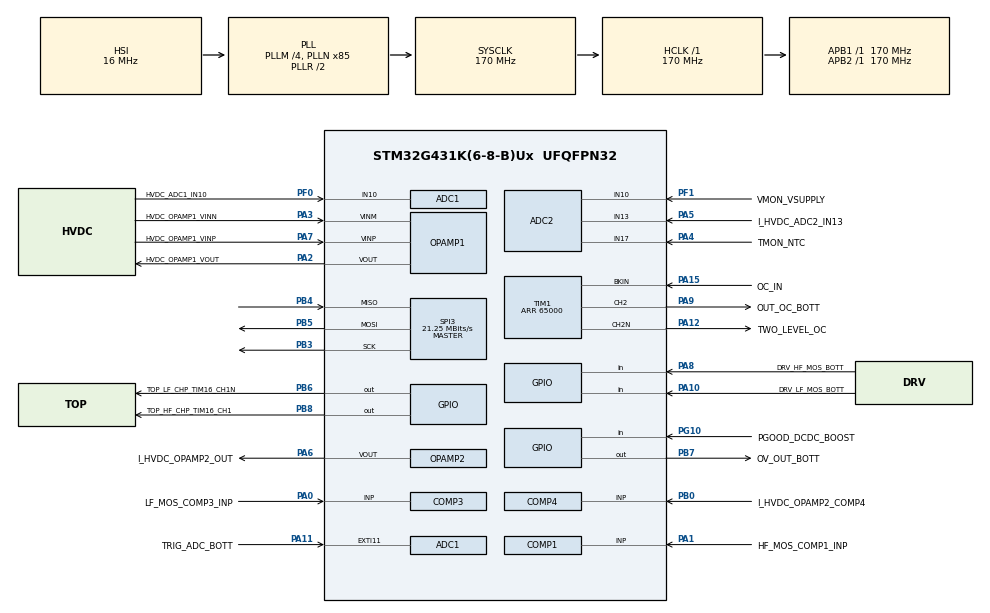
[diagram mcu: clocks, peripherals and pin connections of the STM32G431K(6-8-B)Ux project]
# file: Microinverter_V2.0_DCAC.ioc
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ADC1.Channel-0\#ChannelRegularConversion=ADC_CHANNEL_10
ADC1.ClockPrescaler=ADC_CLOCK_ASYNC_DIV1
ADC1.DMAAccessModeView=ENABLE
ADC1.DMAContinuousRequests=ENABLE
ADC1.EOCSelection=ADC_EOC_SEQ_CONV
ADC1.EnableInjectedConversion=ENABLE
ADC1.InjNumberOfConversion=2
ADC1.InjectedChannel-3\#ChannelInjectedConversion=ADC_CHANNEL_TEMPSENSOR_ADC1
ADC1.InjectedChannel-4\#ChannelInjectedConversion=ADC_CHANNEL_VBAT
ADC1.InjectedOffsetNumber-3\#ChannelInjectedConversion=ADC_OFFSET_NONE
ADC1.InjectedOffsetNumber-4\#ChannelInjectedConversion=ADC_OFFSET_NONE
ADC1.InjectedRank-3\#ChannelInjectedConversion=1
ADC1.InjectedRank-4\#ChannelInjectedConversion=2
ADC1.InjectedSamplingTime-3\#ChannelInjectedConversion=ADC_SAMPLETIME_247CYCLES_5
ADC1.InjectedSamplingTime-4\#ChannelInjectedConversion=ADC_SAMPLETIME_247CYCLES_5
ADC1.Mode=ADC_DUALMODE_REGINTERL_INJECSIMULT
ADC1.NbrOfConversion=1
ADC1.NbrOfConversionFlag=1
ADC1.OffsetNumber-0\#ChannelRegularConversion=ADC_OFFSET_NONE
ADC1.OversamplingMode=DISABLE
ADC1.Rank-0\#ChannelRegularConversion=1
ADC1.Rank1_Channel=ADC_CHANNEL_TEMPSENSOR_ADC1
ADC1.Rank2_Channel=ADC_CHANNEL_VBAT
ADC1.SamplingTime-0\#ChannelRegularConversion=ADC_SAMPLETIME_12CYCLES_5
ADC1.master=1
ADC2.Channel-0\#ChannelRegularConversion=ADC_CHANNEL_13
ADC2.ClockPrescaler=ADC_CLOCK_ASYNC_DIV1
ADC2.DMAAccessModeView=ENABLE
ADC2.EOCSelection=ADC_EOC_SEQ_CONV
ADC2.EnableInjectedConversion=ENABLE
ADC2.InjNumberOfConversion=2
ADC2.InjectedChannel-3\#ChannelInjectedConversion=ADC_CHANNEL_17
ADC2.InjectedChannel-4\#ChannelInjectedConversion=ADC_CHANNEL_10
ADC2.InjectedOffsetNumber-3\#ChannelInjectedConversion=ADC_OFFSET_NONE
ADC2.InjectedOffsetNumber-4\#ChannelInjectedConversion=ADC_OFFSET_NONE
ADC2.InjectedRank-3\#ChannelInjectedConversion=1
ADC2.InjectedRank-4\#ChannelInjectedConversion=2
ADC2.InjectedSamplingTime-3\#ChannelInjectedConversion=ADC_SAMPLETIME_247CYCLES_5
ADC2.InjectedSamplingTime-4\#ChannelInjectedConversion=ADC_SAMPLETIME_247CYCLES_5
ADC2.Mode=ADC_DUALMODE_REGINTERL_INJECSIMULT
ADC2.NbrOfConversion=1
ADC2.NbrOfConversionFlag=1
ADC2.OffsetNumber-0\#ChannelRegularConversion=ADC_OFFSET_NONE
ADC2.OversamplingMode=DISABLE
ADC2.Rank-0\#ChannelRegularConversion=1
ADC2.Rank1_Channel=ADC_CHANNEL_17
ADC2.Rank2_Channel=ADC_CHANNEL_10
ADC2.SamplingTime-0\#ChannelRegularConversion=ADC_SAMPLETIME_12CYCLES_5
COMP1.Hysteresis=COMP_HYSTERESIS_30MV
COMP1.TriggerMode=COMP_TRIGGERMODE_NONE
COMP3.Hysteresis=COMP_HYSTERESIS_30MV
COMP3.TriggerMode=COMP_TRIGGERMODE_NONE
COMP4.Hysteresis=COMP_HYSTERESIS_30MV
COMP4.TriggerMode=COMP_TRIGGERMODE_NONE
DAC3.DAC_Channel-DAC_OUT2_Int=DAC_CHANNEL_2
Dma.ADC1.0.Direction=DMA_PERIPH_TO_MEMORY
Dma.ADC1.0.EventEnable=DISABLE
Dma.ADC1.0.Instance=DMA1_Channel1
Dma.ADC1.0.MemDataAlignment=DMA_MDATAALIGN_WORD
Dma.ADC1.0.MemInc=DMA_MINC_ENABLE
Dma.ADC1.0.Mode=DMA_CIRCULAR
Dma.ADC1.0.PeriphDataAlignment=DMA_PDATAALIGN_WORD
Dma.ADC1.0.PeriphInc=DMA_PINC_DISABLE
Dma.ADC1.0.Polarity=HAL_DMAMUX_REQ_GEN_RISING
Dma.ADC1.0.Priority=DMA_PRIORITY_HIGH
Dma.ADC1.0.RequestNumber=1
Dma.ADC1.0.SignalID=NONE
Dma.ADC1.0.SyncEnable=DISABLE
Dma.ADC1.0.SyncPolarity=HAL_DMAMUX_SYNC_NO_EVENT
Dma.ADC1.0.SyncRequestNumber=1
Dma.ADC1.0.SyncSignalID=NONE
Dma.Request0=ADC1
Mcu.Family=STM32G4
Mcu.Name=STM32G431K(6-8-B)Ux
Mcu.Package=UFQFPN32
NVIC.DMA1_Channel1_IRQn=true\:0\:0\:false\:false\:true\:false\:false
NVIC.PriorityGroup=NVIC_PRIORITYGROUP_4
NVIC.TIM1_BRK_TIM15_IRQn=true\:0\:0\:false\:false\:true\:true\:true
OPAMP1.PowerMode=OPAMP_POWERMODE_HIGHSPEED
OPAMP2.PowerMode=OPAMP_POWERMODE_HIGHSPEED
PA0.GPIO_Label=LF_MOS_COMP3_INP
PA0.Mode=INP
PA0.Signal=COMP3_INP
PA1.GPIO_Label=HF_MOS_COMP1_INP
PA1.Mode=INP
PA1.Signal=COMP1_INP
PA10.GPIO_Label=DRV_LF_MOS_BOTT
PA10.Signal=GPIO_Input
PA11.GPIO_Label=TRIG_ADC_BOTT
PA11.Signal=GPXTI11
PA12.GPIO_Label=TWO_LEVEL_OC
PA12.GPIO_PuPd=GPIO_PULLDOWN
PA12.GPIO_Speed=GPIO_SPEED_FREQ_VERY_HIGH
PA12.Mode=PWM Generation2 CH2 CH2N
PA12.Signal=TIM1_CH2N
PA13.Mode=Serial_Wire
PA13.Signal=SYS_JTMS-SWDIO
PA14.Mode=Serial_Wire
PA14.Signal=SYS_JTCK-SWCLK
PA15.GPIO_Label=OC_IN
PA15.GPIO_PuPd=GPIO_PULLDOWN
PA15.Mode=Activate-Break-Input
PA15.Signal=TIM1_BKIN
PA2.GPIO_Label=HVDC_OPAMP1_VOUT
PA2.Mode=Standalone
PA2.Signal=OPAMP1_VOUT
PA3.GPIO_Label=HVDC_OPAMP1_VINN
PA3.Mode=Standalone
PA3.Signal=OPAMP1_VINM
PA4.GPIO_Label=TMON_NTC
PA4.Mode=IN17-Single-Ended
PA4.Signal=ADC2_IN17
PA5.GPIO_Label=I_HVDC_ADC2_IN13
PA5.Mode=IN13-Single-Ended
PA5.Signal=ADC2_IN13
PA6.GPIO_Label=I_HVDC_OPAMP2_OUT
PA6.Mode=Follower
PA6.Signal=OPAMP2_VOUT
PA7.GPIO_Label=HVDC_OPAMP1_VINP
PA7.Mode=Standalone
PA7.Signal=OPAMP1_VINP
PA8.GPIO_Label=DRV_HF_MOS_BOTT
PA8.Signal=GPIO_Input
PA9.GPIO_Label=OUT_OC_BOTT
PA9.GPIO_PuPd=GPIO_PULLDOWN
PA9.GPIO_Speed=GPIO_SPEED_FREQ_VERY_HIGH
PA9.Signal=S_TIM1_CH2
PB0.GPIO_Label=I_HVDC_OPAMP2_COMP4
PB0.Signal=SharedAnalog_PB0
PB3.Mode=Full_Duplex_Master
PB3.Signal=SPI3_SCK
PB4.Mode=Full_Duplex_Master
PB4.Signal=SPI3_MISO
PB5.Mode=Full_Duplex_Master
PB5.Signal=SPI3_MOSI
PB6.GPIO_Label=TOP_LF_CHP_TIM16_CH1N
PB6.Signal=GPIO_Output
PB7.GPIO_Label=OV_OUT_BOTT
PB7.Signal=GPIO_Output
PB8-BOOT0.GPIO_Label=TOP_HF_CHP_TIM16_CH1
PB8-BOOT0.GPIO_PuPd=GPIO_PULLDOWN
PB8-BOOT0.PinState=GPIO_PIN_RESET
PB8-BOOT0.Signal=GPIO_Output
PF0-OSC_IN.GPIO_Label=HVDC_ADC1_IN10
PF0-OSC_IN.Mode=IN10-Single-Ended
PF0-OSC_IN.Signal=ADC1_IN10
PF1-OSC_OUT.GPIO_Label=VMON_VSUPPLY
PF1-OSC_OUT.Mode=IN10-Single-Ended
PF1-OSC_OUT.Signal=ADC2_IN10
PG10-NRST.GPIO_Label=PGOOD_DCDC_BOOST
PG10-NRST.Signal=GPIO_Input
ProjectManager.HeapSize=0x200
ProjectManager.StackSize=0x400
ProjectManager.TargetToolchain=STM32CubeIDE
RCC.ADC12CLockSelection=RCC_ADC12CLKSOURCE_PLL
RCC.ADC12Freq_Value=56666666.666666664
RCC.AHBFreq_Value=170000000
RCC.APB1Freq_Value=170000000
RCC.APB1TimFreq_Value=170000000
RCC.APB2Freq_Value=170000000
RCC.APB2TimFreq_Value=170000000
RCC.CortexFreq_Value=170000000
RCC.EXTERNAL_CLOCK_VALUE=12288000
RCC.HCLKFreq_Value=170000000
RCC.HSE_VALUE=8000000
RCC.HSI48_VALUE=48000000
RCC.HSI_VALUE=16000000
RCC.LSE_VALUE=32768
RCC.PLLM=RCC_PLLM_DIV4
RCC.PLLN=85
RCC.PLLP=RCC_PLLP_DIV6
RCC.SYSCLKFreq_VALUE=170000000
RCC.SYSCLKSource=RCC_SYSCLKSOURCE_PLLCLK
RCC.USBFreq_Value=170000000
RCC.VCOOutputFreq_Value=340000000
SH.S_TIM1_CH2.0=TIM1_CH2,PWM Generation2 CH2 CH2N
SH.SharedAnalog_PB0.0=COMP4_INP,INP
SH.SharedAnalog_PB0.1=OPAMP2_VINP,Follower
SPI3.BaudRatePrescaler=SPI_BAUDRATEPRESCALER_8
SPI3.CLKPhase=SPI_PHASE_1EDGE
SPI3.CLKPolarity=SPI_POLARITY_LOW
SPI3.CalculateBaudRate=21.25 MBits/s
SPI3.DataSize=SPI_DATASIZE_16BIT
SPI3.Direction=SPI_DIRECTION_2LINES
SPI3.Mode=SPI_MODE_MASTER
SPI3.NSSPMode=SPI_NSS_PULSE_DISABLE
SPI3.VirtualType=VM_MASTER
TIM1.AutomaticOutput=TIM_AUTOMATICOUTPUT_DISABLE
TIM1.BreakFilter=5
TIM1.BreakState=TIM_BREAK_ENABLE
TIM1.Channel-PWM\ Generation2\ CH2\ CH2N=TIM_CHANNEL_2
TIM1.DeadTime=150
TIM1.DeadTimePreload=ENABLE
TIM1.OCFastMode_PWM-PWM\ Generation2\ CH2\ CH2N=TIM_OCFAST_ENABLE
TIM1.OCIdleState_2=TIM_OCIDLESTATE_SET
TIM1.OCNPolarity_2=TIM_OCNPOLARITY_LOW
TIM1.OCPolarity_2=TIM_OCPOLARITY_LOW
TIM1.OffStateIDLEMode=TIM_OSSI_ENABLE
TIM1.OffStateRunMode=TIM_OSSR_ENABLE
TIM1.PeriodNoDither=65000
TIM1.PulseNoDither_2=65000
TIM1.SourceBRKCOMP1=TIM_BREAKINPUTSOURCE_ENABLE
TIM1.SourceBRKCOMP3=TIM_BREAKINPUTSOURCE_ENABLE
TIM1.SourceBRKCOMP4=TIM_BREAKINPUTSOURCE_ENABLE
TIM1.SourceBRKDigInput=TIM_BREAKINPUTSOURCE_ENABLE
TIM16.PeriodNoDither=6800-1
TIM2.PeriodNoDither=170000-1
VP_ADC1_TempSens_Input.Mode=IN-TempSens
VP_ADC1_Vbat_Input.Mode=IN-Vbat
VP_COMP1_VS_DAC3OUT1.Mode=INM_DAC3OUT1
VP_COMP3_VS_DAC3OUT1.Mode=INM_DAC3OUT1
VP_COMP4_VS_DAC3OUT2.Mode=INM_DAC3OUT2
VP_DAC3_VS_DACI1.Mode=DAC_OUT1_Int
VP_DAC3_VS_DACI2.Mode=DAC_OUT2_Int
VP_SYS_VS_DBSignals.Mode=DisableDeadBatterySignals
VP_TIM16_VS_ClockSourceINT.Mode=Enable_Timer
VP_TIM1_VS_ClockSourceINT.Mode=Internal
VP_TIM1_VS_OPM.Mode=OPM_bit
VP_TIM2_VS_ClockSourceINT.Mode=Internal
board=custom

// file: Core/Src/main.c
/* USER CODE BEGIN Header */
/**
  ******************************************************************************
  * @file           : main.c
  * @brief          : Main program body
  ******************************************************************************
  * @attention
  *
  * <h2><center>&copy; Copyright (c) 2021 STMicroelectronics.
  * All rights reserved.</center></h2>
  *
  * This software component is licensed by ST under BSD 3-Clause license,
  * the "License"; You may not use this file except in compliance with the
  * License. You may obtain a copy of the License at:
  *                        opensource.org/licenses/BSD-3-Clause
  *
  ******************************************************************************
  */
/* USER CODE END Header */
#include "main.h"

/* USER CODE BEGIN PD */
enum
{
  MOSFET_OVERCURRENT,
  SYSTEM_OK,
  MCU_OVERTEMPERATURE,
  MOSFET_OVERTEMPERATURE,
  VIN_OV,
  VIN_UV,
  BUS_OVERCURRENT,
  BUS_OVERVOLTAGE,
  SYSTEM_INIT,
  SPI_TRANSFER_ERROR
};

/* USER CODE END PD */

ADC_HandleTypeDef hadc1;
ADC_HandleTypeDef hadc2;
DMA_HandleTypeDef hdma_adc1;

COMP_HandleTypeDef hcomp1;
COMP_HandleTypeDef hcomp3;
COMP_HandleTypeDef hcomp4;

DAC_HandleTypeDef hdac3;

OPAMP_HandleTypeDef hopamp1;
OPAMP_HandleTypeDef hopamp2;

TIM_HandleTypeDef htim1;
TIM_HandleTypeDef htim2;
TIM_HandleTypeDef htim16;

/* USER CODE BEGIN PV */
uint32_t ADC12_BUFFER[ADC_BUFFER_SIZE] = {0};
uint32_t ADC2_BUFFER[ADC_BUFFER_SIZE] = {0};

uint16_t ADC_DRIVERS_MID_VOLTAGE = 0X7FE;
uint16_t IAC_OPAMP_MID_VOLTAGE = 0X7FE;
uint16_t OVERCURRENT_MOS = 0X199; //330 mV = 16.5 A
uint16_t OVERCURRENT_BUS =  0XFFF; //720 mV TESTY// 0XF2B;// 3106 mV = 2 A
#define OC_FILTER 5;

uint16_t I_HVDC_ADC_VAL = 0;
uint16_t V_HVDC_ADC_VAL = 0;

uint16_t VIN_MON = 0;
uint16_t VBAT_VAL = 0;
uint16_t NTC_VAL = 0;
uint16_t INT_TEMP_VAL = 0;

uint8_t aqusitionDMA1_1 = 0;
uint8_t *ptr_aqusitionDMA1_1;
uint8_t frequency_factor = 1;

uint16_t ii = 0;

uint16_t SPI_TxBuffer[SPI_TX_BUFFER_SIZE] = {0};

uint16_t SPI_RxBuffer[SPI_RX_BUFFER_SIZE] = {0};

uint16_t *ptr_SPI_TxBuffer;

uint16_t *ptr_SPI_RxBuffer;

uint8_t OC_PROT_ON = 0;

__IO uint16_t SystemState = SYSTEM_INIT;

__IO uint8_t ubTransmissionComplete = 0;
__IO uint8_t ubReceptionComplete = 0;

uint16_t Status_Val1 = 0;
uint16_t Status_Val2 = 0;
uint16_t Status_Val3 = 0;
/* USER CODE END PV */

void SystemClock_Config(void);
static void MX_GPIO_Init(void);
static void MX_DMA_Init(void);
static void MX_ADC1_Init(void);
static void MX_ADC2_Init(void);
static void MX_COMP1_Init(void);
static void MX_COMP3_Init(void);
static void MX_COMP4_Init(void);
static void MX_DAC3_Init(void);
static void MX_OPAMP1_Init(void);
static void MX_OPAMP2_Init(void);
static void MX_SPI3_Init(void);
static void MX_TIM1_Init(void);
static void MX_TIM16_Init(void);
static void MX_TIM2_Init(void);
/* USER CODE BEGIN PFP */
uint16_t GetLSB(uint32_t intValue);
uint16_t GetMSB(uint32_t intValue);
void spi_w16( SPI_TypeDef *SPIx, uint16_t dat );
void     Activate_SPI(void);
void SPI3_TransferError_Callback(void);
void DMA1_TransmitComplete_Callback(void);
void DMA1_ReceiveComplete_Callback(void);
void SPIx_Transfer2(SPI_TypeDef *SPIx, uint16_t *outp, uint16_t *inp, uint16_t count);
void delay_us(uint32_t delay_us);
/* USER CODE END PFP */

/* USER CODE BEGIN 0 */
static void TIM1_GPIO(void);
/* USER CODE END 0 */

int main(void)
{

  /* MCU Configuration--------------------------------------------------------*/

  /* Reset of all peripherals, Initializes the Flash interface and the Systick. */
  HAL_Init();

  /* Configure the system clock */
  SystemClock_Config();

  /* Initialize all configured peripherals */
  MX_GPIO_Init();
  MX_DMA_Init();
  MX_ADC1_Init();
  MX_ADC2_Init();
  MX_COMP1_Init();
  MX_COMP3_Init();
  MX_COMP4_Init();
  MX_DAC3_Init();
  MX_OPAMP1_Init();
  MX_OPAMP2_Init();
  MX_SPI3_Init();
  MX_TIM1_Init();
  MX_TIM16_Init();
  MX_TIM2_Init();
  /* USER CODE BEGIN 2 */

  HAL_OPAMP_Start(&hopamp1);
  HAL_OPAMP_Start(&hopamp2);

  //DAC3 CHANNEL 1 - COMP1 & COMP3 input  (MOSFET SHOOT THROUGH OVERCURRENT) //
  DAC3 ->DHR12R1 = (uint32_t)(OVERCURRENT_MOS); //DAC3 CHANNEL 1 SET VALUE
  DAC3->CR |= DAC_CR_EN1; //ENABLE DAC1 CHANNEL 1
  while(!(DAC3->SR & DAC_SR_DAC1RDY)); //WAIT UNTIL DAC3 IS READY
  DAC3 ->SWTRIGR |= DAC_SWTRIGR_SWTRIG1;

  //DAC3 CHANNEL 2 - COMP4 input (HVDC BUS OVERCURRENT)
  DAC3 ->DHR12R2 = (uint32_t)(OVERCURRENT_BUS); //DAC3 CHANNEL 2 SET VALUE // 70% max val
  DAC3->CR |= DAC_CR_EN2; //ENABLE DAC3 CHANNEL 2
  while(!(DAC3->SR & DAC_SR_DAC2RDY)); //WAIT UNTIL DAC3 CHANNEL 2 IS READY
  DAC3 ->SWTRIGR |= DAC_SWTRIGR_SWTRIG2;

  //HAL_ADC_Start_DMA(&hadc1, (uint32_t*)ADC12_BUFFER, ADC_BUFFER_SIZE);

  HAL_ADCEx_Calibration_Start(&hadc1, ADC_SINGLE_ENDED);
  HAL_ADCEx_Calibration_Start(&hadc2, ADC_SINGLE_ENDED);

  //HAL_GPIO_WritePin(TWO_LEVEL_OC_GPIO_Port, TWO_LEVEL_OC_Pin, SET);

  //HAL_TIM_PWM_Start(&htim16, TIM_CHANNEL_1); // HF HIGH SIDE AND NEG VOL MOGSFET CHARGE PUMPS

  //HAL_TIMEx_PWMN_Start(&htim16, TIM_CHANNEL_1); // LF HIGH SIDE MOSFET CHARGE PUMP

   ptr_aqusitionDMA1_1 = &aqusitionDMA1_1;

   ptr_SPI_TxBuffer = &SPI_TxBuffer[0];
   ptr_SPI_RxBuffer = &SPI_RxBuffer[0];

   //TIM1_GPIO();
   //GPIOA->BRR = (1<<9);
   //GPIOA->BSRR = (1<<12);

   //MX_TIM1_Init();

/*
   for(int i=0;i<200;i++)
   {

	   //delay_us(100000);
	   GPIOA->BSRR = (1<<9);
       GPIOA->BSRR = (1<<12);
	   //delay_us(100000);

	   GPIOA->BRR = (1<<9);
	   GPIOA->BRR = (1<<12);
   }
*/
   //HAL_GPIO_WritePin(OC_OUT_BOTT_GPIO_Port, OC_OUT_BOTT_Pin, RESET);

   HAL_COMP_Start(&hcomp1);
   HAL_COMP_Start(&hcomp3);
   HAL_COMP_Start(&hcomp4);

   //HAL_TIM_OnePulse_Start_IT(&htim1, TIM_CHANNEL_2);
   //HAL_TIMEx_OnePulseN_Start_IT(&htim1, TIM_CHANNEL_2);

   //HAL_Delay(10);

   //TIM1->CR1|=(TIM_CR1_CEN);

   if (HAL_ADCEx_MultiModeStart_DMA(&hadc1, (uint32_t*)ADC12_BUFFER, ADC_BUFFER_SIZE) != HAL_OK)
   {
     Error_Handler();
   }
   // Enable the SPI3 peripheral.
   SPI3->CR1 |=  ( SPI_CR1_SPE );

   //TIM_CCxChannelCmd(TIM1, TIM_CHANNEL_2, TIM_CCx_ENABLE);

   //uint32_t tmp;
   //tmp = TIM_CCER_CC1NE << (TIM_CHANNEL_2 & 0x1FU); /* 0x1FU = 31 bits max shift */
   /* Reset the CCxNE Bit */
   //TIM1->CCER &=  ~tmp;
   /* Set or reset the CCxNE Bit */
   //TIM1->CCER |= (uint32_t)(TIM_CCxN_ENABLE << (TIM_CHANNEL_2 & 0x1FU)); /* 0x1FU = 31 bits max shift */
   //TIM1->BDTR |= TIM_BDTR_MOE; //ENABLE ALL OUTPUTS

   HAL_GPIO_WritePin(OV_OUT_BOTT_GPIO_Port, OV_OUT_BOTT_Pin, RESET);
  /* USER CODE END 2 */

  /* Infinite loop */
  /* USER CODE BEGIN WHILE */
  while (1)
  {

	  if ((*ptr_aqusitionDMA1_1) == 1)
	  {

		  if(OC_PROT_ON == 0)
		  {
			   HAL_TIM_PWM_Start_IT(&htim1, TIM_CHANNEL_2); // Overcurrent Out To Two Level MOSFET Driver (Low default)
			   HAL_TIMEx_PWMN_Start_IT(&htim1, TIM_CHANNEL_2); // Second stage overcurrent and Boost/LDO Enable (High default)
			   //HAL_TIM_OnePulse_Start_IT(&htim1, TIM_CHANNEL_2);
			   //HAL_TIMEx_OnePulseN_Start_IT(&htim1, TIM_CHANNEL_2);

		          //TIM_CCxChannelCmd(TIM1, TIM_CHANNEL_2, TIM_CCx_ENABLE);

		          //uint32_t tmp;
		          //tmp = TIM_CCER_CC1NE << (TIM_CHANNEL_2 & 0x1FU); /* 0x1FU = 31 bits max shift */
		          /* Reset the CCxNE Bit */
		          //TIM1->CCER &=  ~tmp;
		          /* Set or reset the CCxNE Bit */
		          //TIM1->CCER |= (uint32_t)(TIM_CCxN_ENABLE << (TIM_CHANNEL_2 & 0x1FU)); /* 0x1FU = 31 bits max shift */
		          //TIM1->BDTR |= TIM_BDTR_MOE; //ENABLE ALL OUTPUTS

			   //HAL_TIM_PWM_Start_IT(&htim1, TIM_CHANNEL_2); // Overcurrent Out To Two Level MOSFET Driver (Low default)
			   //HAL_TIMEx_PWMN_Start_IT(&htim1, TIM_CHANNEL_2); // Second stage overcurrent and Boost/LDO Enable (High default)

			   OC_PROT_ON = 1;
		  }

		  	HAL_GPIO_TogglePin(TOP_HF_CHP_TIM16_CH1_GPIO_Port, TOP_HF_CHP_TIM16_CH1_Pin);
			if (frequency_factor == 1) // divide transmit PWM Frequency by 2 - So 50 kHz / 2  = 25 kHz up to day
			{
			  //HAL_GPIO_WritePin(OV_OUT_BOTT_GPIO_Port, OV_OUT_BOTT_Pin, SET);
			  I_HVDC_ADC_VAL = GetMSB(ADC12_BUFFER[0])*VREF/ADC_CODE;
			  V_HVDC_ADC_VAL = GetLSB(ADC12_BUFFER[0])*VREF/ADC_CODE;

			  //spi_w16( SPI3, I_HVDC_ADC_VAL );
			  //spi_w16( SPI3, V_HVDC_ADC_VAL );
			  //spi_w16( SPI3, INT_TEMP_VAL );

			  //SPIx_Transfer(SPI3,I_HVDC_ADC_VAL,SPI_RxBuffer[0]);
			  //SPIx_Transfer(SPI3,I_HVDC_ADC_VAL,SPI_RxBuffer[0]);
			  //SPIx_Transfer(SPI3,I_HVDC_ADC_VAL,SPI_RxBuffer[0]);

			  //SPI_TxBuffer[0] = VIN_MON;
			  SPI_TxBuffer[0] = SPI_RxBuffer[0];
			  SPI_TxBuffer[1] = SPI_RxBuffer[1];
			  SPI_TxBuffer[2] = SPI_RxBuffer[2];
			  //SPI_TxBuffer[3] = VBAT_VAL;

			  SPIx_Transfer2(SPI3,ptr_SPI_TxBuffer,ptr_SPI_RxBuffer,SPI_TX_BUFFER_SIZE);

			  //HAL_GPIO_WritePin(OV_OUT_BOTT_GPIO_Port, OV_OUT_BOTT_Pin, RESET);

			  HAL_ADCEx_InjectedStart(&hadc2);
			  HAL_ADCEx_InjectedStart(&hadc1);

			  Status_Val1 = SPI_RxBuffer[0];
			  Status_Val2 = SPI_RxBuffer[1];
			  Status_Val3 = SPI_RxBuffer[2];
			  frequency_factor++;
			}

			else
			{
				//HAL_GPIO_WritePin(OV_OUT_BOTT_GPIO_Port, OV_OUT_BOTT_Pin, RESET);
				frequency_factor = 1;
				HAL_ADCEx_InjectedPollForConversion(&hadc2, 1);
				HAL_ADCEx_InjectedPollForConversion(&hadc1, 1);

				INT_TEMP_VAL = __LL_ADC_CALC_TEMPERATURE(VREF,(HAL_ADCEx_InjectedGetValue(&hadc1, ADC_INJECTED_RANK_1)),LL_ADC_RESOLUTION_12B);
				VIN_MON = (HAL_ADCEx_InjectedGetValue(&hadc2, ADC_INJECTED_RANK_2))*VREF/ADC_CODE*2.83;
				VBAT_VAL = (HAL_ADCEx_InjectedGetValue(&hadc1, ADC_INJECTED_RANK_2))*VREF/ADC_CODE*3;;
				NTC_VAL = (HAL_ADCEx_InjectedGetValue(&hadc2, ADC_INJECTED_RANK_1))*VREF/ADC_CODE;

				/*
				  if(Status_Val1 == 0xA || Status_Val2 == 0x1 || Status_Val3 == 0x15) // GRID INSERTION
				  {
					  if(OC_PROT_ON == 1)
					  {

					     COMP1 ->CSR |= COMP_CSR_EN;//Glitch test
					     COMP3 ->CSR |= COMP_CSR_EN;//Glitch test

						HAL_GPIO_WritePin(TOP_LF_CHP_TIM16_CH1N_GPIO_Port, TOP_LF_CHP_TIM16_CH1N_Pin,SET);
						OC_PROT_ON++;
					  }
				  }
				  */
			}

			 /* if (ii < 500)
			  {

				  IAC_ADC_VAL_BUFF[ii]  = IAC_ADC_VAL;
				  ii++;

			  }
			  */
			  //HAL_GPIO_TogglePin(STATUS1_GPIO_Port, STATUS1_Pin);

/*

*/

			*ptr_aqusitionDMA1_1 = 0;

	}
    /* USER CODE END WHILE */

  }
}

void SystemClock_Config(void)
{
  RCC_OscInitTypeDef RCC_OscInitStruct = {0};
  RCC_ClkInitTypeDef RCC_ClkInitStruct = {0};

  /** Configure the main internal regulator output voltage
  */
  HAL_PWREx_ControlVoltageScaling(PWR_REGULATOR_VOLTAGE_SCALE1_BOOST);
  /** Initializes the RCC Oscillators according to the specified parameters
  * in the RCC_OscInitTypeDef structure.
  */
  RCC_OscInitStruct.OscillatorType = RCC_OSCILLATORTYPE_HSI;
  RCC_OscInitStruct.HSIState = RCC_HSI_ON;
  RCC_OscInitStruct.HSICalibrationValue = RCC_HSICALIBRATION_DEFAULT;
  RCC_OscInitStruct.PLL.PLLState = RCC_PLL_ON;
  RCC_OscInitStruct.PLL.PLLSource = RCC_PLLSOURCE_HSI;
  RCC_OscInitStruct.PLL.PLLM = RCC_PLLM_DIV4;
  RCC_OscInitStruct.PLL.PLLN = 85;
  RCC_OscInitStruct.PLL.PLLP = RCC_PLLP_DIV6;
  RCC_OscInitStruct.PLL.PLLQ = RCC_PLLQ_DIV2;
  RCC_OscInitStruct.PLL.PLLR = RCC_PLLR_DIV2;
  if (HAL_RCC_OscConfig(&RCC_OscInitStruct) != HAL_OK)
  {
    Error_Handler();
  }
  /** Initializes the CPU, AHB and APB buses clocks
  */
  RCC_ClkInitStruct.ClockType = RCC_CLOCKTYPE_HCLK|RCC_CLOCKTYPE_SYSCLK
                              |RCC_CLOCKTYPE_PCLK1|RCC_CLOCKTYPE_PCLK2;
  RCC_ClkInitStruct.SYSCLKSource = RCC_SYSCLKSOURCE_PLLCLK;
  RCC_ClkInitStruct.AHBCLKDivider = RCC_SYSCLK_DIV1;
  RCC_ClkInitStruct.APB1CLKDivider = RCC_HCLK_DIV1;
  RCC_ClkInitStruct.APB2CLKDivider = RCC_HCLK_DIV1;

  if (HAL_RCC_ClockConfig(&RCC_ClkInitStruct, FLASH_LATENCY_4) != HAL_OK)
  {
    Error_Handler();
  }
}

static void MX_ADC1_Init(void)
{

  ADC_MultiModeTypeDef multimode = {0};
  ADC_ChannelConfTypeDef sConfig = {0};
  ADC_InjectionConfTypeDef sConfigInjected = {0};

  /** Common config
  */
  hadc1.Instance = ADC1;
  hadc1.Init.ClockPrescaler = ADC_CLOCK_ASYNC_DIV1;
  hadc1.Init.Resolution = ADC_RESOLUTION_12B;
  hadc1.Init.DataAlign = ADC_DATAALIGN_RIGHT;
  hadc1.Init.GainCompensation = 0;
  hadc1.Init.ScanConvMode = ADC_SCAN_ENABLE;
  hadc1.Init.EOCSelection = ADC_EOC_SEQ_CONV;
  hadc1.Init.LowPowerAutoWait = DISABLE;
  hadc1.Init.ContinuousConvMode = DISABLE;
  hadc1.Init.NbrOfConversion = 1;
  hadc1.Init.DiscontinuousConvMode = DISABLE;
  hadc1.Init.ExternalTrigConv = ADC_EXTERNALTRIG_EXT_IT11;
  hadc1.Init.ExternalTrigConvEdge = ADC_EXTERNALTRIGCONVEDGE_RISING;
  hadc1.Init.DMAContinuousRequests = ENABLE;
  hadc1.Init.Overrun = ADC_OVR_DATA_PRESERVED;
  hadc1.Init.OversamplingMode = DISABLE;
  if (HAL_ADC_Init(&hadc1) != HAL_OK)
  {
    Error_Handler();
  }
  /** Configure the ADC multi-mode
  */
  multimode.Mode = ADC_DUALMODE_REGINTERL_INJECSIMULT;
  multimode.DMAAccessMode = ADC_DMAACCESSMODE_12_10_BITS;
  multimode.TwoSamplingDelay = ADC_TWOSAMPLINGDELAY_1CYCLE;
  if (HAL_ADCEx_MultiModeConfigChannel(&hadc1, &multimode) != HAL_OK)
  {
    Error_Handler();
  }
  /** Configure Regular Channel
  */
  sConfig.Channel = ADC_CHANNEL_10;
  sConfig.Rank = ADC_REGULAR_RANK_1;
  sConfig.SamplingTime = ADC_SAMPLETIME_12CYCLES_5;
  sConfig.SingleDiff = ADC_SINGLE_ENDED;
  sConfig.OffsetNumber = ADC_OFFSET_NONE;
  sConfig.Offset = 0;
  if (HAL_ADC_ConfigChannel(&hadc1, &sConfig) != HAL_OK)
  {
    Error_Handler();
  }
  /** Configure Injected Channel
  */
  sConfigInjected.InjectedChannel = ADC_CHANNEL_TEMPSENSOR_ADC1;
  sConfigInjected.InjectedRank = ADC_INJECTED_RANK_1;
  sConfigInjected.InjectedSamplingTime = ADC_SAMPLETIME_247CYCLES_5;
  sConfigInjected.InjectedSingleDiff = ADC_SINGLE_ENDED;
  sConfigInjected.InjectedOffsetNumber = ADC_OFFSET_NONE;
  sConfigInjected.InjectedOffset = 0;
  sConfigInjected.InjectedNbrOfConversion = 2;
  sConfigInjected.InjectedDiscontinuousConvMode = DISABLE;
  sConfigInjected.AutoInjectedConv = DISABLE;
  sConfigInjected.QueueInjectedContext = DISABLE;
  sConfigInjected.ExternalTrigInjecConv = ADC_INJECTED_SOFTWARE_START;
  sConfigInjected.ExternalTrigInjecConvEdge = ADC_EXTERNALTRIGINJECCONV_EDGE_NONE;
  sConfigInjected.InjecOversamplingMode = DISABLE;
  if (HAL_ADCEx_InjectedConfigChannel(&hadc1, &sConfigInjected) != HAL_OK)
  {
    Error_Handler();
  }
  /** Configure Injected Channel
  */
  sConfigInjected.InjectedChannel = ADC_CHANNEL_VBAT;
  sConfigInjected.InjectedRank = ADC_INJECTED_RANK_2;
  if (HAL_ADCEx_InjectedConfigChannel(&hadc1, &sConfigInjected) != HAL_OK)
  {
    Error_Handler();
  }

}

static void MX_ADC2_Init(void)
{

  ADC_ChannelConfTypeDef sConfig = {0};
  ADC_InjectionConfTypeDef sConfigInjected = {0};

  /** Common config
  */
  hadc2.Instance = ADC2;
  hadc2.Init.ClockPrescaler = ADC_CLOCK_ASYNC_DIV1;
  hadc2.Init.Resolution = ADC_RESOLUTION_12B;
  hadc2.Init.DataAlign = ADC_DATAALIGN_RIGHT;
  hadc2.Init.GainCompensation = 0;
  hadc2.Init.ScanConvMode = ADC_SCAN_ENABLE;
  hadc2.Init.EOCSelection = ADC_EOC_SEQ_CONV;
  hadc2.Init.LowPowerAutoWait = DISABLE;
  hadc2.Init.ContinuousConvMode = DISABLE;
  hadc2.Init.NbrOfConversion = 1;
  hadc2.Init.DiscontinuousConvMode = DISABLE;
  hadc2.Init.DMAContinuousRequests = DISABLE;
  hadc2.Init.Overrun = ADC_OVR_DATA_PRESERVED;
  hadc2.Init.OversamplingMode = DISABLE;
  if (HAL_ADC_Init(&hadc2) != HAL_OK)
  {
    Error_Handler();
  }
  /** Configure Regular Channel
  */
  sConfig.Channel = ADC_CHANNEL_13;
  sConfig.Rank = ADC_REGULAR_RANK_1;
  sConfig.SamplingTime = ADC_SAMPLETIME_12CYCLES_5;
  sConfig.SingleDiff = ADC_SINGLE_ENDED;
  sConfig.OffsetNumber = ADC_OFFSET_NONE;
  sConfig.Offset = 0;
  if (HAL_ADC_ConfigChannel(&hadc2, &sConfig) != HAL_OK)
  {
    Error_Handler();
  }
  /** Configure Injected Channel
  */
  sConfigInjected.InjectedChannel = ADC_CHANNEL_17;
  sConfigInjected.InjectedRank = ADC_INJECTED_RANK_1;
  sConfigInjected.InjectedSamplingTime = ADC_SAMPLETIME_247CYCLES_5;
  sConfigInjected.InjectedSingleDiff = ADC_SINGLE_ENDED;
  sConfigInjected.InjectedOffsetNumber = ADC_OFFSET_NONE;
  sConfigInjected.InjectedOffset = 0;
  sConfigInjected.InjectedNbrOfConversion = 2;
  sConfigInjected.InjectedDiscontinuousConvMode = DISABLE;
  sConfigInjected.AutoInjectedConv = DISABLE;
  sConfigInjected.QueueInjectedContext = DISABLE;
  sConfigInjected.InjecOversamplingMode = DISABLE;
  if (HAL_ADCEx_InjectedConfigChannel(&hadc2, &sConfigInjected) != HAL_OK)
  {
    Error_Handler();
  }
  /** Configure Injected Channel
  */
  sConfigInjected.InjectedChannel = ADC_CHANNEL_10;
  sConfigInjected.InjectedRank = ADC_INJECTED_RANK_2;
  if (HAL_ADCEx_InjectedConfigChannel(&hadc2, &sConfigInjected) != HAL_OK)
  {
    Error_Handler();
  }

}

static void MX_COMP1_Init(void)
{

  hcomp1.Instance = COMP1;
  hcomp1.Init.InputPlus = COMP_INPUT_PLUS_IO1;
  hcomp1.Init.InputMinus = COMP_INPUT_MINUS_DAC3_CH1;
  hcomp1.Init.OutputPol = COMP_OUTPUTPOL_NONINVERTED;
  hcomp1.Init.Hysteresis = COMP_HYSTERESIS_30MV;
  hcomp1.Init.BlankingSrce = COMP_BLANKINGSRC_NONE;
  hcomp1.Init.TriggerMode = COMP_TRIGGERMODE_NONE;
  if (HAL_COMP_Init(&hcomp1) != HAL_OK)
  {
    Error_Handler();
  }

}

static void MX_COMP3_Init(void)
{

  hcomp3.Instance = COMP3;
  hcomp3.Init.InputPlus = COMP_INPUT_PLUS_IO1;
  hcomp3.Init.InputMinus = COMP_INPUT_MINUS_DAC3_CH1;
  hcomp3.Init.OutputPol = COMP_OUTPUTPOL_NONINVERTED;
  hcomp3.Init.Hysteresis = COMP_HYSTERESIS_30MV;
  hcomp3.Init.BlankingSrce = COMP_BLANKINGSRC_NONE;
  hcomp3.Init.TriggerMode = COMP_TRIGGERMODE_NONE;
  if (HAL_COMP_Init(&hcomp3) != HAL_OK)
  {
    Error_Handler();
  }

}

static void MX_COMP4_Init(void)
{

  hcomp4.Instance = COMP4;
  hcomp4.Init.InputPlus = COMP_INPUT_PLUS_IO1;
  hcomp4.Init.InputMinus = COMP_INPUT_MINUS_DAC3_CH2;
  hcomp4.Init.OutputPol = COMP_OUTPUTPOL_NONINVERTED;
  hcomp4.Init.Hysteresis = COMP_HYSTERESIS_30MV;
  hcomp4.Init.BlankingSrce = COMP_BLANKINGSRC_NONE;
  hcomp4.Init.TriggerMode = COMP_TRIGGERMODE_NONE;
  if (HAL_COMP_Init(&hcomp4) != HAL_OK)
  {
    Error_Handler();
  }

}

static void MX_DAC3_Init(void)
{

  DAC_ChannelConfTypeDef sConfig = {0};

  /** DAC Initialization
  */
  hdac3.Instance = DAC3;
  if (HAL_DAC_Init(&hdac3) != HAL_OK)
  {
    Error_Handler();
  }
  /** DAC channel OUT1 config
  */
  sConfig.DAC_HighFrequency = DAC_HIGH_FREQUENCY_INTERFACE_MODE_AUTOMATIC;
  sConfig.DAC_DMADoubleDataMode = DISABLE;
  sConfig.DAC_SignedFormat = DISABLE;
  sConfig.DAC_SampleAndHold = DAC_SAMPLEANDHOLD_DISABLE;
  sConfig.DAC_Trigger = DAC_TRIGGER_NONE;
  sConfig.DAC_Trigger2 = DAC_TRIGGER_NONE;
  sConfig.DAC_OutputBuffer = DAC_OUTPUTBUFFER_DISABLE;
  sConfig.DAC_ConnectOnChipPeripheral = DAC_CHIPCONNECT_INTERNAL;
  sConfig.DAC_UserTrimming = DAC_TRIMMING_FACTORY;
  if (HAL_DAC_ConfigChannel(&hdac3, &sConfig, DAC_CHANNEL_1) != HAL_OK)
  {
    Error_Handler();
  }
  /** DAC channel OUT2 config
  */
  if (HAL_DAC_ConfigChannel(&hdac3, &sConfig, DAC_CHANNEL_2) != HAL_OK)
  {
    Error_Handler();
  }

}

static void MX_OPAMP1_Init(void)
{

  hopamp1.Instance = OPAMP1;
  hopamp1.Init.PowerMode = OPAMP_POWERMODE_HIGHSPEED;
  hopamp1.Init.Mode = OPAMP_STANDALONE_MODE;
  hopamp1.Init.InvertingInput = OPAMP_INVERTINGINPUT_IO0;
  hopamp1.Init.NonInvertingInput = OPAMP_NONINVERTINGINPUT_IO2;
  hopamp1.Init.InternalOutput = DISABLE;
  hopamp1.Init.TimerControlledMuxmode = OPAMP_TIMERCONTROLLEDMUXMODE_DISABLE;
  hopamp1.Init.UserTrimming = OPAMP_TRIMMING_FACTORY;
  if (HAL_OPAMP_Init(&hopamp1) != HAL_OK)
  {
    Error_Handler();
  }

}

static void MX_OPAMP2_Init(void)
{

  hopamp2.Instance = OPAMP2;
  hopamp2.Init.PowerMode = OPAMP_POWERMODE_HIGHSPEED;
  hopamp2.Init.Mode = OPAMP_FOLLOWER_MODE;
  hopamp2.Init.NonInvertingInput = OPAMP_NONINVERTINGINPUT_IO2;
  hopamp2.Init.InternalOutput = DISABLE;
  hopamp2.Init.TimerControlledMuxmode = OPAMP_TIMERCONTROLLEDMUXMODE_DISABLE;
  hopamp2.Init.UserTrimming = OPAMP_TRIMMING_FACTORY;
  if (HAL_OPAMP_Init(&hopamp2) != HAL_OK)
  {
    Error_Handler();
  }

}

static void MX_SPI3_Init(void)
{

  LL_SPI_InitTypeDef SPI_InitStruct = {0};

  LL_GPIO_InitTypeDef GPIO_InitStruct = {0};

  /* Peripheral clock enable */
  LL_APB1_GRP1_EnableClock(LL_APB1_GRP1_PERIPH_SPI3);

  LL_AHB2_GRP1_EnableClock(LL_AHB2_GRP1_PERIPH_GPIOB);
  /**SPI3 GPIO Configuration
  PB3   ------> SPI3_SCK
  PB4   ------> SPI3_MISO
  PB5   ------> SPI3_MOSI
  */
  GPIO_InitStruct.Pin = LL_GPIO_PIN_3;
  GPIO_InitStruct.Mode = LL_GPIO_MODE_ALTERNATE;
  GPIO_InitStruct.Speed = LL_GPIO_SPEED_FREQ_LOW;
  GPIO_InitStruct.OutputType = LL_GPIO_OUTPUT_PUSHPULL;
  GPIO_InitStruct.Pull = LL_GPIO_PULL_NO;
  GPIO_InitStruct.Alternate = LL_GPIO_AF_6;
  LL_GPIO_Init(GPIOB, &GPIO_InitStruct);

  GPIO_InitStruct.Pin = LL_GPIO_PIN_4;
  GPIO_InitStruct.Mode = LL_GPIO_MODE_ALTERNATE;
  GPIO_InitStruct.Speed = LL_GPIO_SPEED_FREQ_LOW;
  GPIO_InitStruct.OutputType = LL_GPIO_OUTPUT_PUSHPULL;
  GPIO_InitStruct.Pull = LL_GPIO_PULL_NO;
  GPIO_InitStruct.Alternate = LL_GPIO_AF_6;
  LL_GPIO_Init(GPIOB, &GPIO_InitStruct);

  GPIO_InitStruct.Pin = LL_GPIO_PIN_5;
  GPIO_InitStruct.Mode = LL_GPIO_MODE_ALTERNATE;
  GPIO_InitStruct.Speed = LL_GPIO_SPEED_FREQ_LOW;
  GPIO_InitStruct.OutputType = LL_GPIO_OUTPUT_PUSHPULL;
  GPIO_InitStruct.Pull = LL_GPIO_PULL_NO;
  GPIO_InitStruct.Alternate = LL_GPIO_AF_6;
  LL_GPIO_Init(GPIOB, &GPIO_InitStruct);

  /* SPI3 parameter configuration*/
  SPI_InitStruct.TransferDirection = LL_SPI_FULL_DUPLEX;
  SPI_InitStruct.Mode = LL_SPI_MODE_MASTER;
  SPI_InitStruct.DataWidth = LL_SPI_DATAWIDTH_16BIT;
  SPI_InitStruct.ClockPolarity = LL_SPI_POLARITY_LOW;
  SPI_InitStruct.ClockPhase = LL_SPI_PHASE_1EDGE;
  SPI_InitStruct.NSS = LL_SPI_NSS_SOFT;
  SPI_InitStruct.BaudRate = LL_SPI_BAUDRATEPRESCALER_DIV8;
  SPI_InitStruct.BitOrder = LL_SPI_MSB_FIRST;
  SPI_InitStruct.CRCCalculation = LL_SPI_CRCCALCULATION_DISABLE;
  SPI_InitStruct.CRCPoly = 7;
  LL_SPI_Init(SPI3, &SPI_InitStruct);
  LL_SPI_SetStandard(SPI3, LL_SPI_PROTOCOL_MOTOROLA);
  LL_SPI_DisableNSSPulseMgt(SPI3);

}

static void MX_TIM1_Init(void)
{

  TIM_ClockConfigTypeDef sClockSourceConfig = {0};
  TIM_MasterConfigTypeDef sMasterConfig = {0};
  TIMEx_BreakInputConfigTypeDef sBreakInputConfig = {0};
  TIM_OC_InitTypeDef sConfigOC = {0};
  TIM_BreakDeadTimeConfigTypeDef sBreakDeadTimeConfig = {0};

  htim1.Instance = TIM1;
  htim1.Init.Prescaler = 0;
  htim1.Init.CounterMode = TIM_COUNTERMODE_UP;
  htim1.Init.Period = 65000;
  htim1.Init.ClockDivision = TIM_CLOCKDIVISION_DIV1;
  htim1.Init.RepetitionCounter = 0;
  htim1.Init.AutoReloadPreload = TIM_AUTORELOAD_PRELOAD_DISABLE;
  if (HAL_TIM_Base_Init(&htim1) != HAL_OK)
  {
    Error_Handler();
  }
  sClockSourceConfig.ClockSource = TIM_CLOCKSOURCE_INTERNAL;
  if (HAL_TIM_ConfigClockSource(&htim1, &sClockSourceConfig) != HAL_OK)
  {
    Error_Handler();
  }
  if (HAL_TIM_PWM_Init(&htim1) != HAL_OK)
  {
    Error_Handler();
  }
  if (HAL_TIM_OnePulse_Init(&htim1, TIM_OPMODE_SINGLE) != HAL_OK)
  {
    Error_Handler();
  }
  sMasterConfig.MasterOutputTrigger = TIM_TRGO_RESET;
  sMasterConfig.MasterOutputTrigger2 = TIM_TRGO2_RESET;
  sMasterConfig.MasterSlaveMode = TIM_MASTERSLAVEMODE_DISABLE;
  if (HAL_TIMEx_MasterConfigSynchronization(&htim1, &sMasterConfig) != HAL_OK)
  {
    Error_Handler();
  }
  sBreakInputConfig.Source = TIM_BREAKINPUTSOURCE_BKIN;
  sBreakInputConfig.Enable = TIM_BREAKINPUTSOURCE_ENABLE;
  sBreakInputConfig.Polarity = TIM_BREAKINPUTSOURCE_POLARITY_HIGH;
  if (HAL_TIMEx_ConfigBreakInput(&htim1, TIM_BREAKINPUT_BRK, &sBreakInputConfig) != HAL_OK)
  {
    Error_Handler();
  }
  sBreakInputConfig.Source = TIM_BREAKINPUTSOURCE_COMP1;
  if (HAL_TIMEx_ConfigBreakInput(&htim1, TIM_BREAKINPUT_BRK, &sBreakInputConfig) != HAL_OK)
  {
    Error_Handler();
  }
  sBreakInputConfig.Source = TIM_BREAKINPUTSOURCE_COMP3;
  if (HAL_TIMEx_ConfigBreakInput(&htim1, TIM_BREAKINPUT_BRK, &sBreakInputConfig) != HAL_OK)
  {
    Error_Handler();
  }
  sBreakInputConfig.Source = TIM_BREAKINPUTSOURCE_COMP4;
  if (HAL_TIMEx_ConfigBreakInput(&htim1, TIM_BREAKINPUT_BRK, &sBreakInputConfig) != HAL_OK)
  {
    Error_Handler();
  }
  sConfigOC.OCMode = TIM_OCMODE_PWM1;
  sConfigOC.Pulse = 65000;
  sConfigOC.OCPolarity = TIM_OCPOLARITY_LOW;
  sConfigOC.OCNPolarity = TIM_OCNPOLARITY_LOW;
  sConfigOC.OCFastMode = TIM_OCFAST_ENABLE;
  sConfigOC.OCIdleState = TIM_OCIDLESTATE_SET;
  sConfigOC.OCNIdleState = TIM_OCNIDLESTATE_RESET;
  if (HAL_TIM_PWM_ConfigChannel(&htim1, &sConfigOC, TIM_CHANNEL_2) != HAL_OK)
  {
    Error_Handler();
  }
  HAL_TIMEx_EnableDeadTimePreload(&htim1);
  sBreakDeadTimeConfig.OffStateRunMode = TIM_OSSR_ENABLE;
  sBreakDeadTimeConfig.OffStateIDLEMode = TIM_OSSI_ENABLE;
  sBreakDeadTimeConfig.LockLevel = TIM_LOCKLEVEL_OFF;
  sBreakDeadTimeConfig.DeadTime = 150;
  sBreakDeadTimeConfig.BreakState = TIM_BREAK_ENABLE;
  sBreakDeadTimeConfig.BreakPolarity = TIM_BREAKPOLARITY_HIGH;
  sBreakDeadTimeConfig.BreakFilter = (uint32_t)OC_FILTER;
  sBreakDeadTimeConfig.BreakAFMode = TIM_BREAK_AFMODE_INPUT;
  sBreakDeadTimeConfig.Break2State = TIM_BREAK2_DISABLE;
  sBreakDeadTimeConfig.Break2Polarity = TIM_BREAK2POLARITY_HIGH;
  sBreakDeadTimeConfig.Break2Filter = 0;
  sBreakDeadTimeConfig.Break2AFMode = TIM_BREAK_AFMODE_INPUT;
  sBreakDeadTimeConfig.AutomaticOutput = TIM_AUTOMATICOUTPUT_DISABLE;
  if (HAL_TIMEx_ConfigBreakDeadTime(&htim1, &sBreakDeadTimeConfig) != HAL_OK)
  {
    Error_Handler();
  }
  /* USER CODE BEGIN TIM1_Init 2 */
  //TIM1->AF1 &= ~TIM1_AF1_BKINE; //DISABLE
  /* USER CODE END TIM1_Init 2 */
  HAL_TIM_MspPostInit(&htim1);

}

static void MX_TIM2_Init(void)
{

  TIM_ClockConfigTypeDef sClockSourceConfig = {0};
  TIM_MasterConfigTypeDef sMasterConfig = {0};

  htim2.Instance = TIM2;
  htim2.Init.Prescaler = 0;
  htim2.Init.CounterMode = TIM_COUNTERMODE_UP;
  htim2.Init.Period = 169999;
  htim2.Init.ClockDivision = TIM_CLOCKDIVISION_DIV1;
  htim2.Init.AutoReloadPreload = TIM_AUTORELOAD_PRELOAD_DISABLE;
  if (HAL_TIM_Base_Init(&htim2) != HAL_OK)
  {
    Error_Handler();
  }
  sClockSourceConfig.ClockSource = TIM_CLOCKSOURCE_INTERNAL;
  if (HAL_TIM_ConfigClockSource(&htim2, &sClockSourceConfig) != HAL_OK)
  {
    Error_Handler();
  }
  sMasterConfig.MasterOutputTrigger = TIM_TRGO_RESET;
  sMasterConfig.MasterSlaveMode = TIM_MASTERSLAVEMODE_DISABLE;
  if (HAL_TIMEx_MasterConfigSynchronization(&htim2, &sMasterConfig) != HAL_OK)
  {
    Error_Handler();
  }

}

static void MX_TIM16_Init(void)
{

  htim16.Instance = TIM16;
  htim16.Init.Prescaler = 0;
  htim16.Init.CounterMode = TIM_COUNTERMODE_UP;
  htim16.Init.Period = 6799;
  htim16.Init.ClockDivision = TIM_CLOCKDIVISION_DIV1;
  htim16.Init.RepetitionCounter = 0;
  htim16.Init.AutoReloadPreload = TIM_AUTORELOAD_PRELOAD_DISABLE;
  if (HAL_TIM_Base_Init(&htim16) != HAL_OK)
  {
    Error_Handler();
  }

}

static void MX_DMA_Init(void)
{

  /* Init with LL driver */
  /* DMA controller clock enable */
  LL_AHB1_GRP1_EnableClock(LL_AHB1_GRP1_PERIPH_DMAMUX1);
  LL_AHB1_GRP1_EnableClock(LL_AHB1_GRP1_PERIPH_DMA1);

  /* DMA interrupt init */
  /* DMA1_Channel1_IRQn interrupt configuration */
  HAL_NVIC_SetPriority(DMA1_Channel1_IRQn, 0, 0);
  HAL_NVIC_EnableIRQ(DMA1_Channel1_IRQn);

}

static void MX_GPIO_Init(void)
{
  GPIO_InitTypeDef GPIO_InitStruct = {0};

  /* GPIO Ports Clock Enable */
  __HAL_RCC_GPIOF_CLK_ENABLE();
  __HAL_RCC_GPIOG_CLK_ENABLE();
  __HAL_RCC_GPIOA_CLK_ENABLE();
  __HAL_RCC_GPIOB_CLK_ENABLE();

  /*Configure GPIO pin Output Level */
  HAL_GPIO_WritePin(GPIOB, TOP_LF_CHP_TIM16_CH1N_Pin|OV_OUT_BOTT_Pin|TOP_HF_CHP_TIM16_CH1_Pin, GPIO_PIN_RESET);

  /*Configure GPIO pin : PGOOD_DCDC_BOOST_Pin */
  GPIO_InitStruct.Pin = PGOOD_DCDC_BOOST_Pin;
  GPIO_InitStruct.Mode = GPIO_MODE_INPUT;
  GPIO_InitStruct.Pull = GPIO_NOPULL;
  HAL_GPIO_Init(PGOOD_DCDC_BOOST_GPIO_Port, &GPIO_InitStruct);

  /*Configure GPIO pins : DRV_HF_MOS_BOTT_Pin DRV_LF_MOS_BOTT_Pin */
  GPIO_InitStruct.Pin = DRV_HF_MOS_BOTT_Pin|DRV_LF_MOS_BOTT_Pin;
  GPIO_InitStruct.Mode = GPIO_MODE_INPUT;
  GPIO_InitStruct.Pull = GPIO_NOPULL;
  HAL_GPIO_Init(GPIOA, &GPIO_InitStruct);

  /*Configure GPIO pin : TRIG_ADC_BOTT_Pin */
  GPIO_InitStruct.Pin = TRIG_ADC_BOTT_Pin;
  GPIO_InitStruct.Mode = GPIO_MODE_IT_RISING;
  GPIO_InitStruct.Pull = GPIO_NOPULL;
  HAL_GPIO_Init(TRIG_ADC_BOTT_GPIO_Port, &GPIO_InitStruct);

  /*Configure GPIO pins : TOP_LF_CHP_TIM16_CH1N_Pin OV_OUT_BOTT_Pin */
  GPIO_InitStruct.Pin = TOP_LF_CHP_TIM16_CH1N_Pin|OV_OUT_BOTT_Pin;
  GPIO_InitStruct.Mode = GPIO_MODE_OUTPUT_PP;
  GPIO_InitStruct.Pull = GPIO_NOPULL;
  GPIO_InitStruct.Speed = GPIO_SPEED_FREQ_LOW;
  HAL_GPIO_Init(GPIOB, &GPIO_InitStruct);

  /*Configure GPIO pin : TOP_HF_CHP_TIM16_CH1_Pin */
  GPIO_InitStruct.Pin = TOP_HF_CHP_TIM16_CH1_Pin;
  GPIO_InitStruct.Mode = GPIO_MODE_OUTPUT_PP;
  GPIO_InitStruct.Pull = GPIO_PULLDOWN;
  GPIO_InitStruct.Speed = GPIO_SPEED_FREQ_LOW;
  HAL_GPIO_Init(TOP_HF_CHP_TIM16_CH1_GPIO_Port, &GPIO_InitStruct);

}

/* USER CODE BEGIN 4 */
uint16_t GetLSB(uint32_t intValue)
{
	return (intValue & 0x0000FFFF);
}

uint16_t GetMSB(uint32_t intValue)
{
    return ((intValue & 0xFFFF0000)) >> 16;
}

void spi_w16( SPI_TypeDef *SPIx, uint16_t dat ) {
  // Wait for TXE 'transmit buffer empty' bit to be set.
  while ( !( SPIx->SR & SPI_SR_TXE ) ) {};
  // Send the bytes.
  *( uint16_t* )&( SPIx->DR ) = dat;
}

void SPIx_Transfer(SPI_TypeDef *SPIx, uint16_t outp, uint16_t inp) {

        while(!(SPIx->SR & SPI_SR_TXE)){};

        *(volatile uint16_t *)&SPIx->DR = outp;

        while(!(SPIx->SR & SPI_SR_RXNE)){};

        inp = *(volatile uint16_t *)&SPIx->DR;

}

void SPIx_Transfer2(SPI_TypeDef *SPIx, uint16_t *outp, uint16_t *inp, uint16_t count) {
    while(count--) {
        while(!(SPIx->SR & SPI_SR_TXE))
            ;
        *(volatile uint16_t *)&SPIx->DR = *outp++;
        while(!(SPIx->SR & SPI_SR_RXNE))
            ;
        *inp++ = *(volatile uint16_t *)&SPIx->DR;
    }
}

void HAL_TIMEx_BreakCallback(TIM_HandleTypeDef *htim)
{
  /* Prevent unused argument(s) compilation warning */
  UNUSED(htim);

  //HAL_TIM_PWM_Stop_IT(&htim1, TIM_CHANNEL_2); // Overcurrent Out To Two Level MOSFET Driver (Low default)
  //HAL_TIMEx_PWMN_Stop_IT(&htim1, TIM_CHANNEL_2); // Second stage overcurrent and Boost/LDO Enable (High default)

  //HAL_Delay(3000);

  //HAL_TIM_PWM_Start_IT(&htim1, TIM_CHANNEL_2); // Overcurrent Out To Two Level MOSFET Driver (Low default)
  //HAL_TIMEx_PWMN_Start_IT(&htim1, TIM_CHANNEL_2); // Second stage overcurrent and Boost/LDO Enable (High default)
  /* NOTE : This function should not be modified, when the callback is needed,
            the HAL_TIMEx_BreakCallback could be implemented in the user file
   */
}

void Activate_SPI(void)
{
  /* Enable SPI1 */
  LL_SPI_Enable(SPI3);

  /* Enable DMA Channels */
  LL_DMA_EnableChannel(DMA1, LL_DMA_CHANNEL_3);
  LL_DMA_EnableChannel(DMA1, LL_DMA_CHANNEL_2);
}

void DMA1_ReceiveComplete_Callback(void)
{
  /* DMA Rx transfer completed */
  ubReceptionComplete = 1;
}

/**
  * @brief  Function called from DMA1 IRQ Handler when Tx transfer is completed
  * @param  None
  * @retval None
  */
void DMA1_TransmitComplete_Callback(void)
{
  /* DMA Tx transfer completed */
  ubTransmissionComplete = 1;
}

/**
  * @brief  Function called in case of error detected in SPI IT Handler
  * @param  None
  * @retval None
  */
void SPI3_TransferError_Callback(void)
{
  /* Disable DMA1 Rx Channel */
  LL_DMA_DisableChannel(DMA1, LL_DMA_CHANNEL_3);

  /* Disable DMA1 Tx Channel */
  LL_DMA_DisableChannel(DMA1, LL_DMA_CHANNEL_2);
  /* Set LED2 to Blinking mode to indicate error occurs */
  //LED_Blinking(LED_BLINK_ERROR);
}

void TIM1_GPIO(void)
{

	  GPIO_InitTypeDef GPIO_InitStruct2 = {0};

	  /*Configure GPIO pin Output Level */
	  HAL_GPIO_WritePin(GPIOA, OUT_OC_BOTT_Pin|TWO_LEVEL_OC_Pin, GPIO_PIN_RESET);

	  /*Configure GPIO pins : TOP_LF_CHP_TIM16_CH1N_Pin OV_OUT_BOTT_Pin TOP_HF_CHP_TIM16_CH1_Pin */
	  GPIO_InitStruct2.Pin = OUT_OC_BOTT_Pin|TWO_LEVEL_OC_Pin;
	  GPIO_InitStruct2.Mode = GPIO_MODE_OUTPUT_PP;
	  GPIO_InitStruct2.Pull = GPIO_PULLDOWN;
	  GPIO_InitStruct2.Speed = GPIO_SPEED_FREQ_LOW;
	  HAL_GPIO_Init(GPIOA, &GPIO_InitStruct2);

}
/* USER CODE END 4 */

void Error_Handler(void)
{
  /* USER CODE BEGIN Error_Handler_Debug */
  /* User can add his own implementation to report the HAL error return state */
	SystemState = SPI_TRANSFER_ERROR;
  __disable_irq();
  while (1)
  {
  }
  /* USER CODE END Error_Handler_Debug */
}
